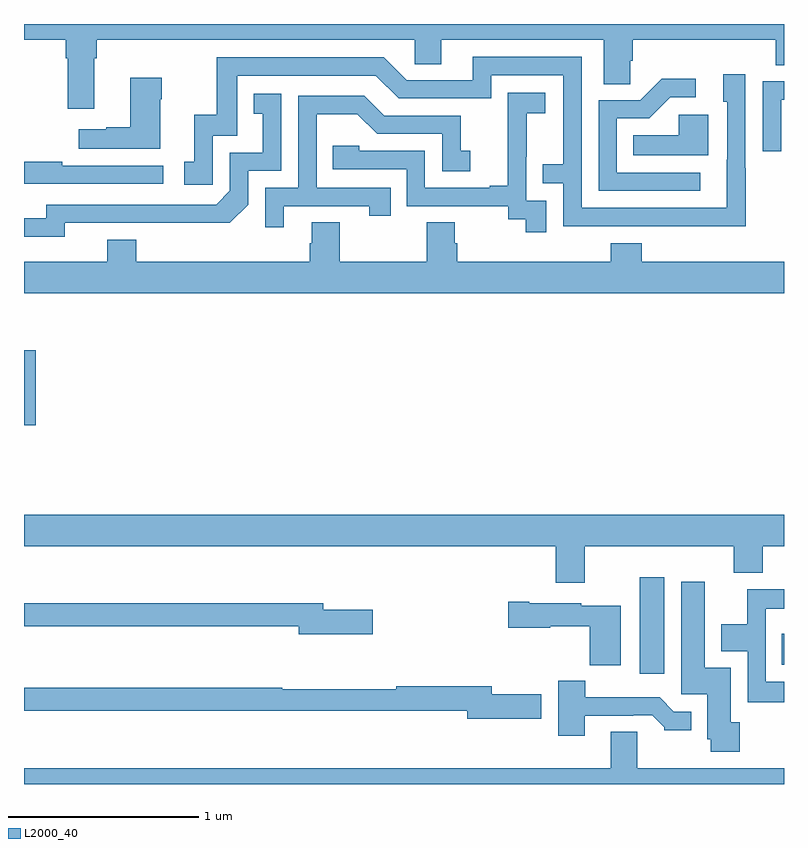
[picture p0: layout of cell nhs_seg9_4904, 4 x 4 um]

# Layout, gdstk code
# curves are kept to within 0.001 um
import gdstk
lib = gdstk.Library(unit=1e-6, precision=1e-09)
def R(c, l, rs):  # rectangles x0, y0, x1, y1
    for r in rs: c.add(gdstk.rectangle(r[:2], r[2:], *l))
def P(c, l, *ps):  # polygons
    for p in ps: c.add(gdstk.Polygon(p, *l))
L2000_40 = (2000, 40)

nhs_seg9_4904 = lib.new_cell('nhs_seg9_4904')
R(nhs_seg9_4904, L2000_40, [(398.24,1197.081,398.371,1197.589), (398.989,1197.128,399,1197.292), (395,1198.389,395.063,1198.783)])
P(nhs_seg9_4904, L2000_40, [(395,1200.416),(395.219,1200.416),(395.219,1200.32),(395.231,1200.32),(395.231,1200.054),(395.371,1200.054),(395.371,1200.32),(395.384,1200.32),(395.384,1200.416),(397.056,1200.416),(397.056,1200.289),(397.195,1200.289),(397.195,1200.416),(398.051,1200.416),(398.051,1200.184),(398.19,1200.184),(398.19,1200.307),(398.204,1200.307),(398.204,1200.416),(398.957,1200.416),(398.957,1200.283),(399,1200.283),(399,1200.5),(395,1200.5)],
  [(398.799,1199.741),(398.796,1199.741),(398.796,1200.235),(398.681,1200.235),(398.681,1200.09),(398.7,1200.09),(398.699,1199.532),(397.935,1199.532),(397.935,1200.327),(397.361,1200.327),(397.361,1200.204),(397.014,1200.204),(396.894,1200.324),(396.015,1200.324),(396.015,1200.022),(395.897,1200.022),(395.897,1199.775),(395.844,1199.775),(395.844,1199.655),(395.994,1199.655),(395.994,1199.913),(396.123,1199.913),(396.123,1200.228),(396.852,1200.228),(396.972,1200.108),(397.458,1200.108),(397.458,1200.231),(397.839,1200.231),(397.839,1199.762),(397.729,1199.762),(397.729,1199.661),(397.839,1199.661),(397.839,1199.436),(398.799,1199.435)],
  [(395.716,1200.104),(395.724,1200.104),(395.724,1200.217),(395.558,1200.217),(395.558,1199.957),(395.432,1199.957),(395.432,1199.947),(395.289,1199.947),(395.289,1199.843),(395.716,1199.843)],
  [(398.56,1199.718),(398.121,1199.718),(398.121,1200.003),(398.29,1200.003),(398.401,1200.114),(398.536,1200.114),(398.536,1200.212),(398.357,1200.212),(398.244,1200.099),(398.025,1200.099),(398.025,1199.622),(398.56,1199.622)],
  [(398.985,1200.102),(399,1200.102),(399,1200.198),(398.889,1200.198),(398.889,1199.829),(398.985,1199.829)],
  [(397.749,1199.571),(397.644,1199.571),(397.644,1199.801),(397.646,1199.801),(397.646,1200.029),(397.744,1200.029),(397.744,1200.139),(397.546,1200.139),(397.546,1199.933),(397.547,1199.933),(397.547,1199.65),(397.451,1199.65),(397.451,1199.637),(397.11,1199.637),(397.11,1199.832),(396.765,1199.832),(396.765,1199.859),(396.625,1199.859),(396.625,1199.736),(397.014,1199.736),(397.014,1199.541),(397.548,1199.541),(397.548,1199.473),(397.641,1199.473),(397.641,1199.403),(397.749,1199.403)],
  [(395.214,1199.454),(396.082,1199.453),(396.18,1199.55),(396.18,1199.727),(396.354,1199.727),(396.354,1200.133),(396.208,1200.133),(396.208,1200.027),(396.257,1200.027),(396.257,1199.823),(396.084,1199.823),(396.084,1199.622),(396.012,1199.55),(395.118,1199.55),(395.118,1199.478),(395,1199.478),(395,1199.381),(395.214,1199.381)],
  [(396.367,1199.541),(396.818,1199.541),(396.818,1199.49),(396.929,1199.49),(396.929,1199.637),(396.54,1199.637),(396.54,1200.026),(396.754,1200.026),(396.858,1199.922),(397.2,1199.922),(397.2,1199.724),(397.348,1199.724),(397.348,1199.833),(397.299,1199.833),(397.299,1200.018),(396.895,1200.018),(396.79,1200.123),(396.444,1200.123),(396.444,1199.637),(396.27,1199.637),(396.27,1199.43),(396.367,1199.43)],
  [(398.602,1200.022),(398.445,1200.022),(398.445,1199.914),(398.206,1199.914),(398.206,1199.81),(398.602,1199.81)],
  [(395.734,1199.754),(395.201,1199.754),(395.201,1199.774),(395,1199.774),(395,1199.658),(395.734,1199.658)],
  [(399,1199.248),(398.252,1199.248),(398.252,1199.347),(398.087,1199.347),(398.087,1199.248),(397.28,1199.248),(397.28,1199.346),(397.267,1199.346),(397.267,1199.456),(397.12,1199.456),(397.12,1199.248),(396.663,1199.248),(396.663,1199.456),(396.515,1199.456),(396.515,1199.346),(396.503,1199.346),(396.503,1199.248),(395.591,1199.248),(395.591,1199.365),(395.438,1199.365),(395.438,1199.248),(395,1199.248),(395,1199.084),(399,1199.084)],
  [(397.951,1197.752),(398.735,1197.752),(398.735,1197.611),(398.887,1197.611),(398.887,1197.752),(399,1197.752),(399,1197.916),(395,1197.916),(395,1197.752),(397.799,1197.752),(397.799,1197.558),(397.951,1197.558)],
  [(398.766,1196.826),(398.719,1196.826),(398.719,1197.112),(398.584,1197.112),(398.584,1197.565),(398.459,1197.565),(398.459,1196.973),(398.597,1196.973),(398.597,1196.736),(398.614,1196.736),(398.614,1196.67),(398.766,1196.67)],
  [(399,1197.039),(398.904,1197.039),(398.904,1197.422),(399,1197.422),(399,1197.526),(398.806,1197.526),(398.806,1197.34),(398.669,1197.34),(398.669,1197.2),(398.808,1197.2),(398.808,1196.931),(399,1196.931)],
  [(398.14,1197.439),(397.932,1197.439),(397.932,1197.451),(397.66,1197.451),(397.66,1197.459),(397.548,1197.459),(397.548,1197.322),(397.77,1197.322),(397.77,1197.329),(397.978,1197.329),(397.978,1197.125),(398.14,1197.125)],
  [(396.835,1197.417),(396.574,1197.417),(396.574,1197.451),(395,1197.451),(395,1197.33),(396.446,1197.33),(396.446,1197.287),(396.835,1197.287)],
  [(397.951,1196.859),(398.207,1196.859),(398.207,1196.862),(398.306,1196.862),(398.37,1196.798),(398.37,1196.783),(398.512,1196.783),(398.512,1196.88),(398.421,1196.88),(398.345,1196.956),(397.954,1196.956),(397.954,1197.043),(397.811,1197.043),(397.811,1196.754),(397.951,1196.754)],
  [(397.723,1196.973),(397.462,1196.973),(397.462,1197.014),(396.958,1197.014),(396.958,1196.999),(396.358,1196.999),(396.358,1197.007),(395,1197.007),(395,1196.886),(397.334,1196.886),(397.334,1196.843),(397.723,1196.843)],
  [(398.227,1196.774),(398.087,1196.774),(398.087,1196.584),(395,1196.584),(395,1196.5),(399,1196.5),(399,1196.584),(398.227,1196.584)])

lib.write_gds('nhs_seg9_4904.gds')
